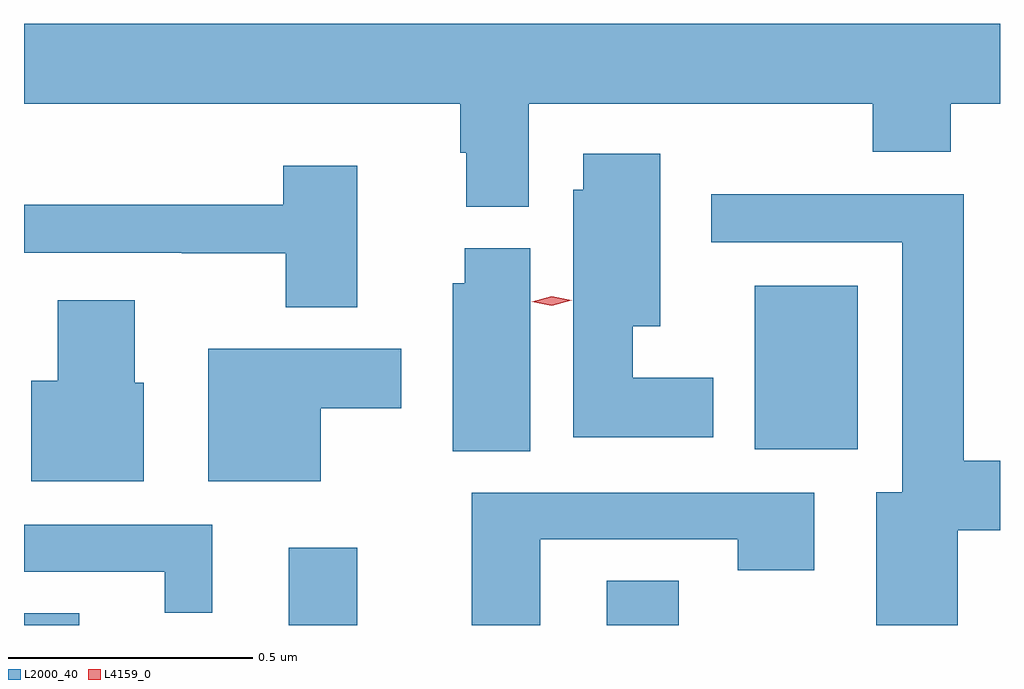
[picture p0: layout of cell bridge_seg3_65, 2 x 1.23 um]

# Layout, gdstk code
import gdstk
lib = gdstk.Library(unit=1e-6, precision=1e-09)
def R(c, l, rs):  # rectangles x0, y0, x1, y1
    for r in rs: c.add(gdstk.rectangle(r[:2], r[2:], *l))
def P(c, l, *ps):  # polygons
    for p in ps: c.add(gdstk.Polygon(p, *l))
L2000_40 = (2000, 40)
L4159_0 = (4159, 0)

bridge_seg3_65 = lib.new_cell('bridge_seg3_65')
R(bridge_seg3_65, L2000_40, [(525.653,707.839,525.766,707.864), (526.196,707.839,526.336,707.998), (526.847,707.839,526.995,707.93), (527.15,708.2,527.362,708.535)])
P(bridge_seg3_65, L2000_40, [(526.687,708.908),(527.392,708.908),(527.392,708.809),(527.552,708.809),(527.552,708.908),(527.653,708.908),(527.653,709.072),(525.653,709.072),(525.653,708.908),(526.547,708.908),(526.547,708.807),(526.559,708.807),(526.559,708.697),(526.687,708.697)],
  [(527.065,708.346),(526.9,708.346),(526.9,708.452),(526.957,708.452),(526.957,708.805),(526.799,708.805),(526.799,708.732),(526.778,708.732),(526.778,708.224),(527.065,708.224)],
  [(526.336,708.781),(526.184,708.781),(526.184,708.701),(525.653,708.701),(525.653,708.603),(525.976,708.603),(525.976,708.602),(526.189,708.602),(526.189,708.491),(526.336,708.491)],
  [(527.566,708.034),(527.653,708.034),(527.653,708.176),(527.579,708.176),(527.579,708.722),(527.061,708.722),(527.061,708.624),(527.453,708.624),(527.453,708.112),(527.399,708.112),(527.399,707.839),(527.566,707.839)],
  [(526.69,708.612),(526.556,708.612),(526.556,708.54),(526.532,708.54),(526.532,708.196),(526.69,708.196)],
  [(525.898,708.336),(525.88,708.336),(525.88,708.505),(525.722,708.505),(525.722,708.34),(525.668,708.34),(525.668,708.134),(525.898,708.134)],
  [(526.261,708.284),(526.426,708.284),(526.426,708.406),(526.031,708.406),(526.031,708.134),(526.261,708.134)],
  [(526.711,708.015),(527.116,708.015),(527.116,707.952),(527.272,707.952),(527.272,708.111),(526.571,708.111),(526.571,707.839),(526.711,707.839)],
  [(526.039,708.045),(525.653,708.045),(525.653,707.949),(525.941,707.949),(525.941,707.865),(526.039,707.865)])
P(bridge_seg3_65, L4159_0, [(526.734,708.494),(526.693,708.502),(526.693,708.502),(526.693,708.502),(526.734,708.513),(526.775,708.505),(526.775,708.505),(526.775,708.505)])

lib.write_gds('bridge_seg3_65.gds')
